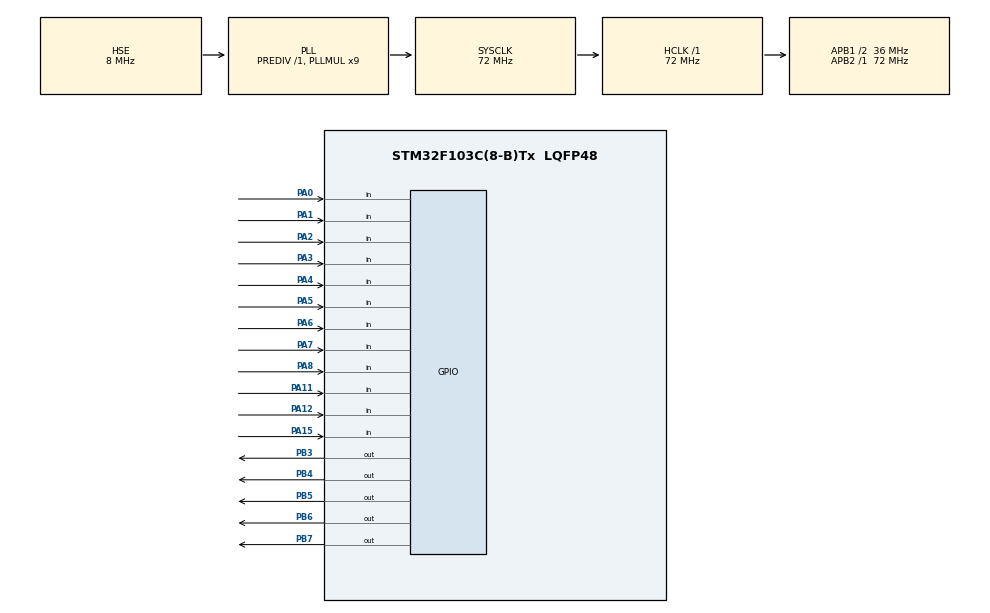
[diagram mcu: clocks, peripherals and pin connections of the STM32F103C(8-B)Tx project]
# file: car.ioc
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Mcu.Family=STM32F1
Mcu.Name=STM32F103C(8-B)Tx
Mcu.Package=LQFP48
NVIC.PriorityGroup=NVIC_PRIORITYGROUP_4
PA0-WKUP.GPIO_PuPd=GPIO_PULLUP
PA0-WKUP.Signal=GPIO_Input
PA1.GPIO_PuPd=GPIO_PULLUP
PA1.Signal=GPIO_Input
PA11.GPIO_PuPd=GPIO_PULLUP
PA11.Signal=GPIO_Input
PA12.GPIO_PuPd=GPIO_PULLUP
PA12.Signal=GPIO_Input
PA13.Mode=Serial_Wire
PA13.Signal=SYS_JTMS-SWDIO
PA14.Mode=Serial_Wire
PA14.Signal=SYS_JTCK-SWCLK
PA15.GPIO_PuPd=GPIO_PULLUP
PA15.Signal=GPIO_Input
PA2.GPIO_PuPd=GPIO_PULLUP
PA2.Signal=GPIO_Input
PA3.GPIO_PuPd=GPIO_PULLUP
PA3.Signal=GPIO_Input
PA4.GPIO_PuPd=GPIO_PULLUP
PA4.Signal=GPIO_Input
PA5.GPIO_PuPd=GPIO_PULLUP
PA5.Signal=GPIO_Input
PA6.GPIO_PuPd=GPIO_PULLUP
PA6.Signal=GPIO_Input
PA7.GPIO_PuPd=GPIO_PULLUP
PA7.Signal=GPIO_Input
PA8.GPIO_PuPd=GPIO_PULLUP
PA8.Signal=GPIO_Input
PB3.Signal=GPIO_Output
PB4.Signal=GPIO_Output
PB5.PinState=GPIO_PIN_SET
PB5.Signal=GPIO_Output
PB6.GPIO_ModeDefaultOutputPP=GPIO_MODE_OUTPUT_OD
PB6.GPIO_PuPd=GPIO_NOPULL
PB6.PinState=GPIO_PIN_SET
PB6.Signal=GPIO_Output
PB7.GPIO_ModeDefaultOutputPP=GPIO_MODE_OUTPUT_OD
PB7.GPIO_PuPd=GPIO_NOPULL
PB7.PinState=GPIO_PIN_SET
PB7.Signal=GPIO_Output
PD0-OSC_IN.Mode=HSE-External-Oscillator
PD0-OSC_IN.Signal=RCC_OSC_IN
PD1-OSC_OUT.Mode=HSE-External-Oscillator
PD1-OSC_OUT.Signal=RCC_OSC_OUT
ProjectManager.HeapSize=0x200
ProjectManager.StackSize=0x400
ProjectManager.TargetToolchain=MDK-ARM V5.32
RCC.AHBFreq_Value=72000000
RCC.APB1CLKDivider=RCC_HCLK_DIV2
RCC.APB1Freq_Value=36000000
RCC.APB1TimFreq_Value=72000000
RCC.APB2Freq_Value=72000000
RCC.APB2TimFreq_Value=72000000
RCC.HCLKFreq_Value=72000000
RCC.PLLMUL=RCC_PLL_MUL9
RCC.PLLSourceVirtual=RCC_PLLSOURCE_HSE
RCC.SYSCLKFreq_VALUE=72000000
RCC.SYSCLKSource=RCC_SYSCLKSOURCE_PLLCLK
RCC.USBFreq_Value=72000000
board=custom

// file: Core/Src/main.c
/* USER CODE BEGIN Header */
/**
  ******************************************************************************
  * @file           : main.c
  * @brief          : Main program body
  ******************************************************************************
  * @attention
  *
  * Copyright (c) 2026 STMicroelectronics.
  * All rights reserved.
  *
  * This software is licensed under terms that can be found in the LICENSE file
  * in the root directory of this software component.
  * If no LICENSE file comes with this software, it is provided AS-IS.
  *
  ******************************************************************************
  */
/* USER CODE END Header */
#include "main.h"

/* USER CODE BEGIN Includes */
#include "oled.h"
#include "app_config.h"
#include "led.h"
#include "key.h"
#include "menu.h"
#include "track.h"
#include "beep.h"
#include "usart.h"
#include "motor.h"
#include "line.h"
#include "param.h"
/* USER CODE END Includes */

void SystemClock_Config(void);
static void MX_GPIO_Init(void);

int main(void)
{

  /* MCU Configuration--------------------------------------------------------*/

  /* Reset of all peripherals, Initializes the Flash interface and the Systick. */
  HAL_Init();

  /* Configure the system clock */
  SystemClock_Config();

  /* Initialize all configured peripherals */
  MX_GPIO_Init();
  /* USER CODE BEGIN 2 */
  Motor_Init();         /* 必须第一个做：立刻把方向脚拉低，否则上电瞬间右轮会乱转 */
  Param_Init();         /* 从 Flash 读 KP/KD/速度/圈数，必须在 Menu_Init 之前 */
  OLED_Init();          /* 屏幕先亮起来，后面所有界面才有地方显示 */
  Led_Init();           /* 两个 LED 上电先灭 */
  Key_Init();           /* 按键状态清干净 */
  Track_Init();         /* 8 路循迹探头（PB8~PB15，5V 容忍） */
  Line_Init();          /* 循迹闭环状态清零 */
  Menu_Init();          /* 上电进主菜单，箭头在第一行 */
  Beep_Init();          /* 蜂鸣器先静音 */
  Beep_Beep(BEEP_BOOT_MS);  /* 上电"嘀"一声，确认蜂鸣器在线 */
  Usart_Init();         /* USART1：PA9=TX / PA10=RX，上电会发 "READY" */

#if MOTOR_SELFTEST
  /* 接线自测：等 3 秒 → 软启动到目标速度 → 保持 2 秒 → 停
   * 用软启动而不是直接给满，是为了压住启动冲击电流。
   * 测通后把 app_config.h 里的 MOTOR_SELFTEST 改回 0 */
  {
    uint16_t i;
    HAL_Delay(MOTOR_SELFTEST_WAIT_MS);
    Motor_SetRamp(MOTOR_SELFTEST_SPEED, MOTOR_SELFTEST_SPEED, MOTOR_SELFTEST_RAMP_MS);
    for (i = 0; i < (uint16_t)(MOTOR_SELFTEST_RUN_MS / MOTOR_RAMP_TICK_MS); i++)
    {
      Motor_Task();
      HAL_Delay(MOTOR_RAMP_TICK_MS);
    }
    Motor_Stop();
  }
#endif

  /* USER CODE END 2 */

  /* Infinite loop */
  while (1)
  {

    /* USER CODE BEGIN 3 */
    Led_Task();         /* 非阻塞：在这里维护闪烁相位 */
    Menu_Task();        /* 读按键 + 定时刷新 OLED */
    Beep_Task();        /* 非阻塞：到点自动关掉蜂鸣器 */
    Usart_Task();       /* 非阻塞：解析上位机命令 */
    Motor_Task();       /* 非阻塞：推进软启动斜坡 */
    Line_Task();        /* 非阻塞：循迹闭环，10ms 一次 */
  }
  /* USER CODE END 3 */
}

void SystemClock_Config(void)
{
  RCC_OscInitTypeDef RCC_OscInitStruct = {0};
  RCC_ClkInitTypeDef RCC_ClkInitStruct = {0};

  /** Initializes the RCC Oscillators according to the specified parameters
  * in the RCC_OscInitTypeDef structure.
  */
  RCC_OscInitStruct.OscillatorType = RCC_OSCILLATORTYPE_HSE;
  RCC_OscInitStruct.HSEState = RCC_HSE_ON;
  RCC_OscInitStruct.HSEPredivValue = RCC_HSE_PREDIV_DIV1;
  RCC_OscInitStruct.HSIState = RCC_HSI_ON;
  RCC_OscInitStruct.PLL.PLLState = RCC_PLL_ON;
  RCC_OscInitStruct.PLL.PLLSource = RCC_PLLSOURCE_HSE;
  RCC_OscInitStruct.PLL.PLLMUL = RCC_PLL_MUL9;
  if (HAL_RCC_OscConfig(&RCC_OscInitStruct) != HAL_OK)
  {
    Error_Handler();
  }

  /** Initializes the CPU, AHB and APB buses clocks
  */
  RCC_ClkInitStruct.ClockType = RCC_CLOCKTYPE_HCLK|RCC_CLOCKTYPE_SYSCLK
                              |RCC_CLOCKTYPE_PCLK1|RCC_CLOCKTYPE_PCLK2;
  RCC_ClkInitStruct.SYSCLKSource = RCC_SYSCLKSOURCE_PLLCLK;
  RCC_ClkInitStruct.AHBCLKDivider = RCC_SYSCLK_DIV1;
  RCC_ClkInitStruct.APB1CLKDivider = RCC_HCLK_DIV2;
  RCC_ClkInitStruct.APB2CLKDivider = RCC_HCLK_DIV1;

  if (HAL_RCC_ClockConfig(&RCC_ClkInitStruct, FLASH_LATENCY_2) != HAL_OK)
  {
    Error_Handler();
  }
}

static void MX_GPIO_Init(void)
{
  GPIO_InitTypeDef GPIO_InitStruct = {0};

  /* GPIO Ports Clock Enable */
  __HAL_RCC_GPIOD_CLK_ENABLE();
  __HAL_RCC_GPIOA_CLK_ENABLE();
  __HAL_RCC_GPIOB_CLK_ENABLE();

  /*Configure GPIO pin Output Level */
  HAL_GPIO_WritePin(GPIOB, GPIO_PIN_3|GPIO_PIN_4, GPIO_PIN_RESET);

  /*Configure GPIO pin Output Level */
  HAL_GPIO_WritePin(GPIOB, GPIO_PIN_5|GPIO_PIN_6|GPIO_PIN_7, GPIO_PIN_SET);

  /*Configure GPIO pins : PA0 PA1 PA2 PA3
                           PA4 PA5 PA6 PA7
                           PA8 PA11 PA12 PA15 */
  GPIO_InitStruct.Pin = GPIO_PIN_0|GPIO_PIN_1|GPIO_PIN_2|GPIO_PIN_3
                          |GPIO_PIN_4|GPIO_PIN_5|GPIO_PIN_6|GPIO_PIN_7
                          |GPIO_PIN_8|GPIO_PIN_11|GPIO_PIN_12|GPIO_PIN_15;
  GPIO_InitStruct.Mode = GPIO_MODE_INPUT;
  GPIO_InitStruct.Pull = GPIO_PULLUP;
  HAL_GPIO_Init(GPIOA, &GPIO_InitStruct);

  /*Configure GPIO pins : PB3 PB4 PB5 */
  GPIO_InitStruct.Pin = GPIO_PIN_3|GPIO_PIN_4|GPIO_PIN_5;
  GPIO_InitStruct.Mode = GPIO_MODE_OUTPUT_PP;
  GPIO_InitStruct.Pull = GPIO_NOPULL;
  GPIO_InitStruct.Speed = GPIO_SPEED_FREQ_LOW;
  HAL_GPIO_Init(GPIOB, &GPIO_InitStruct);

  /*Configure GPIO pins : PB6 PB7 */
  GPIO_InitStruct.Pin = GPIO_PIN_6|GPIO_PIN_7;
  GPIO_InitStruct.Mode = GPIO_MODE_OUTPUT_OD;
  GPIO_InitStruct.Pull = GPIO_NOPULL;
  GPIO_InitStruct.Speed = GPIO_SPEED_FREQ_LOW;
  HAL_GPIO_Init(GPIOB, &GPIO_InitStruct);

}

void Error_Handler(void)
{
  __disable_irq();
  while (1)
  {
  }
}
